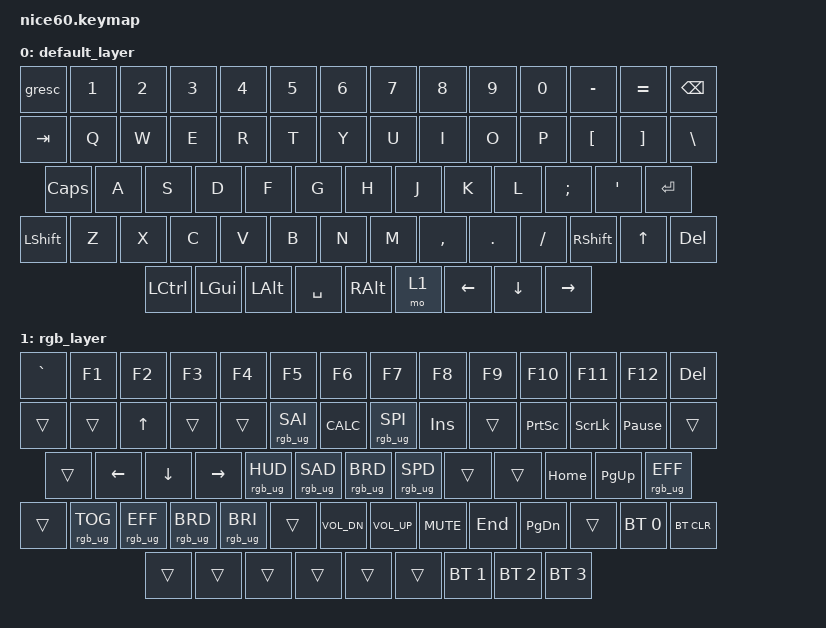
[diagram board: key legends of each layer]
/*
 * Copyright (c) 2021 Nick Winans
 *
 * SPDX-License-Identifier: MIT
 */

#include <behaviors.dtsi>
#include <dt-bindings/zmk/keys.h>
#include <dt-bindings/zmk/rgb.h>
#include <dt-bindings/zmk/bt.h>

/ {
    keymap {
        compatible = "zmk,keymap";

        default_layer {
// ------------------------------------------------------------------------------------------
// | ESC |  1  |  2  |  3  |  4  |  5  |  6  |  7  |  8  |  9  |  0  |  -  |  =  |   BKSP   |
// | TAB  |  Q  |  W  |  E  |  R  |  T  |  Y  |  U  |  I  |  O  |  P  |  [  |  ]  |   "|"   |
// | CAPS  |  A  |  S  |  D  |  F  |  G  |  H  |  J  |  K  |  L  |  ;  |  '  |     ENTER    |
// |  SHIFT  |  Z  |  X  |  C  |  V  |  B  |  N  |  M  |  ,  |  .  |  /  |      SHIFT       |
// |  CTL  |  WIN  |  ALT  |            SPACE              |  ALT  |  WIN  |  MO(1) |  CTL  |
// ------------------------------------------------------------------------------------------
            bindings = <
    &gresc  &kp N1 &kp N2 &kp N3 &kp N4 &kp N5 &kp N6 &kp N7 &kp N8 &kp N9 &kp N0 &kp MINUS &kp EQUAL  &kp BSPC
    &kp TAB  &kp Q  &kp W  &kp E  &kp R  &kp T  &kp Y  &kp U  &kp I  &kp O  &kp P  &kp LBKT  &kp RBKT  &kp BSLH
    &kp CLCK  &kp A  &kp S  &kp D  &kp F  &kp G  &kp H  &kp J  &kp K  &kp L  &kp SEMI &kp SQT           &kp RET
    &kp LSHFT   &kp Z  &kp X  &kp C  &kp V  &kp B  &kp N  &kp M  &kp COMMA &kp DOT &kp FSLH &kp RSHFT &kp UP &kp DEL
    &kp LCTRL &kp LGUI &kp LALT             &kp SPACE                     &kp RALT  &mo 1  &kp LEFT &kp DOWN  &kp RIGHT
            >;
        };

        rgb_layer {
// ------------------------------------------------------------------------------------------------
// | BT CLR | F1  | F2  | F3  | F4  | F5  | F6  | F7  | F8  | F9  | F10  | F11 | F12 | EFFECT REV |
// |  BT 1   |   |  UP |   | HUEUP | SATUP | BRIUP | SPDUP |   |     |    |     |     |           |
// |   BT 2   | LT |  DN  | RT | HUEDN | SATDN | BRIDN | SPDDN |   |     |   |     |  EFFECT FORW |
// |    BT 3     |     |      |      |     |     |     |     |     |     |     |                  |
// |   BT 4  |      |      |             TOG RGB                | PRT SCR |       |       |  DEL  |
// ------------------------------------------------------------------------------------------------
            bindings = <
    &kp GRAVE    &kp F1    &kp F2    &kp F3  &kp F4           &kp F5          &kp F6          &kp F7          &kp F8   &kp F9   &kp F10  &kp F11 &kp F12  &kp DEL
    &trans  &trans    &kp UP    &trans  &trans  &rgb_ug RGB_SAI &kp K_CALC &rgb_ug RGB_SPI  &kp INS   &trans   &kp PSCRN   &kp SLCK  &kp PAUSE_BREAK          &trans
    &trans   &kp LEFT  &kp DOWN  &kp RIGHT &rgb_ug RGB_HUD &rgb_ug RGB_SAD &rgb_ug RGB_BRD &rgb_ug RGB_SPD &trans   &trans   &kp HOME  &kp PG_UP        &rgb_ug RGB_EFF
    &trans    &rgb_ug RGB_TOG  &rgb_ug RGB_EFF    &rgb_ug RGB_BRD   &rgb_ug RGB_BRI          &trans          &kp C_VOL_DN    &kp C_VOL_UP   &kp C_MUTE   &kp END   &kp PG_DN  &trans  &bt BT_SEL 0  &bt BT_CLR
    &trans   &trans   &trans                            &trans                                      &trans      &trans      &bt BT_SEL 1  &bt BT_SEL 2  &bt BT_SEL 3
            >;
        };
    };
};
